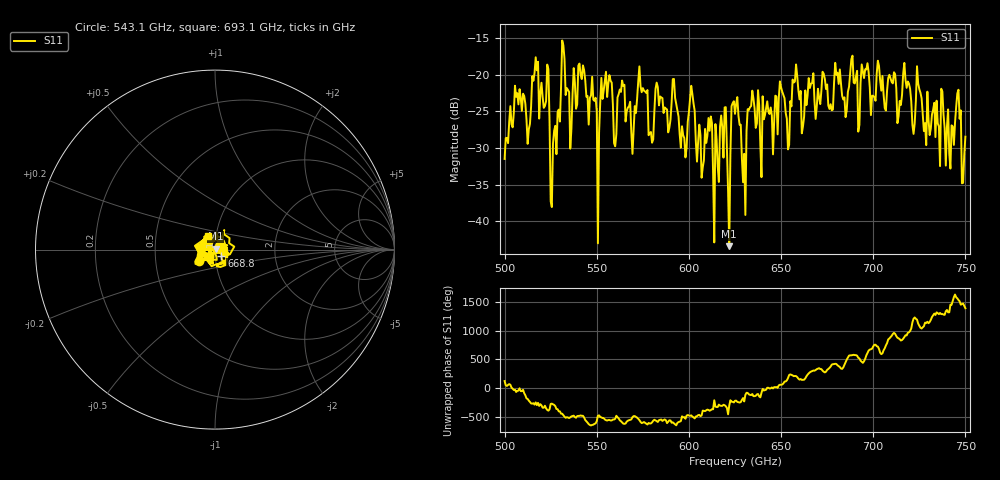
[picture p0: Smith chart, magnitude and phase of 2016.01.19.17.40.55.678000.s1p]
!Created with skrf (http://scikit-rf.org).
# GHz S RI R 50.0
!freq ReS11 ImS11
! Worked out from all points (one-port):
!   401 points, 500 GHz to 750 GHz, reference 50 ohm
!   lowest |S11| = -43.4 dB at 621.9 GHz (marker M1), VSWR 1.01, Z = 50.3 + j0.591 ohm
!   |S11| at or under -10 dB: start of sweep to end of sweep
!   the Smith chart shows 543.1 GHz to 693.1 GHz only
!   S11 on the Smith chart (normalised r, x): 543.1 GHz: 0.83, -0.10; 668.8 GHz: 1.07, -0.07; 693.1 GHz: 0.91, +0.14
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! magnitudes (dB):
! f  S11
! 500 GHz  -31.5
! 506.9 GHz  -22.5
! 513.1 GHz  -27.4
! 516.9 GHz  -17.6
! 523.1 GHz  -18.6
! 526.2 GHz  -29.4
! 531.2 GHz  -15.3
! 535.6 GHz  -30.1
! 543.1 GHz  -19.4
! 550 GHz  -25.0
! 553.8 GHz  -22.2
! 560 GHz  -29.8
! 562.5 GHz  -22.0
! 593.8 GHz  -24.8
! 615 GHz  -28.8
! 618.8 GHz  -31.3
! 621.9 GHz  -43.4
! 625 GHz  -25.3
! 630 GHz  -30.8
! 633.8 GHz  -24.3
! 656.2 GHz  -20.7
! 668.8 GHz  -26.0
! 687.5 GHz  -19.8
! 693.1 GHz  -21.1
! 718.8 GHz  -20.9
! 740.6 GHz  -24.7
! 746.2 GHz  -22.0
! 750 GHz  -28.4
